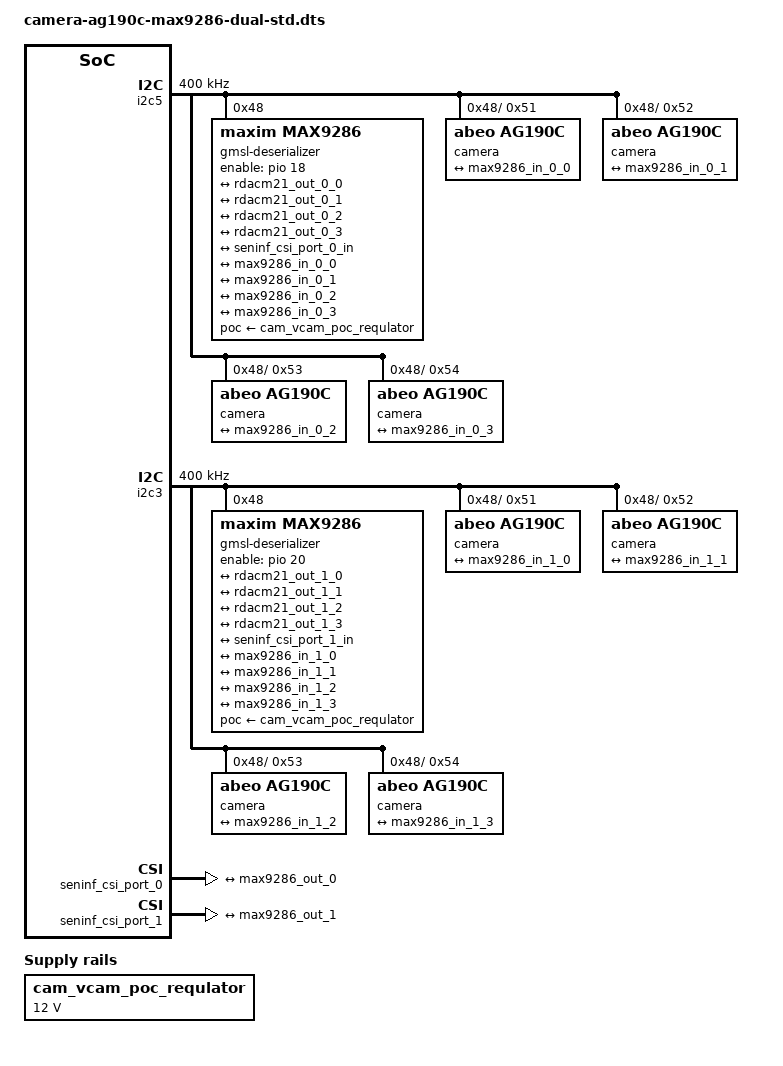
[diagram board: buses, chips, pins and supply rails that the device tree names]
// SPDX-License-Identifier: GPL-2.0
/*
 * Copyright (c) 2024 MediaTek Inc.
 *
 */

#include <dt-bindings/clock/mediatek,mt8188-clk.h>
#include <dt-bindings/gpio/gpio.h>
#include <dt-bindings/pinctrl/mediatek,mt8188-pinfunc.h>

/dts-v1/;
/plugin/;

#include "isp71.dtsi"

/ {
	fragment@3 {
		target-path = "/";
		__overlay__ {
			/* This dummy regulator is used for max9286 driver to probe */
			cam_vcam_poc_requlator: cam-vcam-poc-regulator {
				compatible = "regulator-fixed";
				regulator-name = "cam_vcam_poc_requlator";
				regulator-min-microvolt = <12000000>;
				regulator-max-microvolt = <12000000>;
				regulator-always-on;
			};
		};
	};

	fragment@4 {
		target = <&spi2>;
		__overlay__ {
			status = "disabled";
		};
	};

	fragment@5 {
		target = <&i2c5>;
		__overlay__ {
			clock-frequency = <400000>;
			gmsl-deserializer@2c {
				compatible = "maxim,max9286";
				reg = <0x48>;
				poc-supply = <&cam_vcam_poc_requlator>;
				enable-gpios = <&pio 18 GPIO_ACTIVE_HIGH>;

				gpio-controller;
				#gpio-cells = <2>;

				maxim,reverse-channel-microvolt = <200000>;

				ports {
					#address-cells = <1>;
					#size-cells = <0>;

					port@0 {
						reg = <0>;

						max9286_in_0_0: endpoint {
							remote-endpoint = <&rdacm21_out_0_0>;
						};
					};

					port@1 {
						reg = <1>;

						max9286_in_0_1: endpoint {
							remote-endpoint = <&rdacm21_out_0_1>;
						};
					};

					port@2 {
						reg = <2>;

						max9286_in_0_2: endpoint {
							remote-endpoint = <&rdacm21_out_0_2>;
						};
					};

					port@3 {
						reg = <3>;

						max9286_in_0_3: endpoint {
							remote-endpoint = <&rdacm21_out_0_3>;
						};
					};

					port@4 {
						reg = <4>;

						max9286_out_0: endpoint {
							data-lanes = <1 2 3 4>;
							remote-endpoint = <&seninf_csi_port_0_in>;
						};
					};
				};

				i2c-mux {
					#address-cells = <1>;
					#size-cells = <0>;

					i2c@0 {
						#address-cells = <1>;
						#size-cells = <0>;
						reg = <0>;

						camera@51 {
							compatible = "abeo,ag190c";
							reg = <0x51>, <0x61>;

							port {
								rdacm21_out_0_0: endpoint {
									remote-endpoint = <&max9286_in_0_0>;
								};
							};
						};
					};

					i2c@1 {
						#address-cells = <1>;
						#size-cells = <0>;
						reg = <1>;

						camera@52 {
							compatible = "abeo,ag190c";
							reg = <0x52>, <0x62>;

							port {
								rdacm21_out_0_1: endpoint {
									remote-endpoint = <&max9286_in_0_1>;
								};
							};
						};
					};

					i2c@2 {
						#address-cells = <1>;
						#size-cells = <0>;
						reg = <2>;

						camera@53 {
							compatible = "abeo,ag190c";
							reg = <0x53>, <0x63>;

							port {
								rdacm21_out_0_2: endpoint {
									remote-endpoint = <&max9286_in_0_2>;
								};
							};
						};
					};

					i2c@3 {
						#address-cells = <1>;
						#size-cells = <0>;
						reg = <3>;

						camera@54 {
							compatible = "abeo,ag190c";
							reg = <0x54>, <0x64>;

							port {
								rdacm21_out_0_3: endpoint {
									remote-endpoint = <&max9286_in_0_3>;
								};
							};
						};
					};
				};
			};
		};
	};

	fragment@6 {
		target = <&i2c3>;
		__overlay__ {
			clock-frequency = <400000>;
			gmsl-deserializer@2c {
				compatible = "maxim,max9286";
				reg = <0x48>;
				poc-supply = <&cam_vcam_poc_requlator>;
				enable-gpios = <&pio 20 GPIO_ACTIVE_HIGH>;

				gpio-controller;
				#gpio-cells = <2>;

				maxim,reverse-channel-microvolt = <200000>;

				ports {
					#address-cells = <1>;
					#size-cells = <0>;

					port@0 {
						reg = <0>;

						max9286_in_1_0: endpoint {
							remote-endpoint = <&rdacm21_out_1_0>;
						};
					};

					port@1 {
						reg = <1>;

						max9286_in_1_1: endpoint {
							remote-endpoint = <&rdacm21_out_1_1>;
						};
					};

					port@2 {
						reg = <2>;

						max9286_in_1_2: endpoint {
							remote-endpoint = <&rdacm21_out_1_2>;
						};
					};

					port@3 {
						reg = <3>;

						max9286_in_1_3: endpoint {
							remote-endpoint = <&rdacm21_out_1_3>;
						};
					};

					port@4 {
						reg = <4>;

						max9286_out_1: endpoint {
							data-lanes = <1 2 3 4>;
							remote-endpoint = <&seninf_csi_port_1_in>;
						};
					};
				};

				i2c-mux {
					#address-cells = <1>;
					#size-cells = <0>;

					i2c@0 {
						#address-cells = <1>;
						#size-cells = <0>;
						reg = <0>;

						camera@51 {
							compatible = "abeo,ag190c";
							reg = <0x51>, <0x61>;

							port {
								rdacm21_out_1_0: endpoint {
									remote-endpoint = <&max9286_in_1_0>;
								};
							};

						};
					};

					i2c@1 {
						#address-cells = <1>;
						#size-cells = <0>;
						reg = <1>;

						camera@52 {
							compatible = "abeo,ag190c";
							reg = <0x52>, <0x62>;

							port {
								rdacm21_out_1_1: endpoint {
									remote-endpoint = <&max9286_in_1_1>;
								};
							};
						};
					};

					i2c@2 {
						#address-cells = <1>;
						#size-cells = <0>;
						reg = <2>;

						camera@53 {
							compatible = "abeo,ag190c";
							reg = <0x53>, <0x63>;

							port {
								rdacm21_out_1_2: endpoint {
									remote-endpoint = <&max9286_in_1_2>;
								};
							};
						};
					};

					i2c@3 {
						#address-cells = <1>;
						#size-cells = <0>;
						reg = <3>;

						camera@54 {
							compatible = "abeo,ag190c";
							reg = <0x54>, <0x64>;

							port {
								rdacm21_out_1_3: endpoint {
									remote-endpoint = <&max9286_in_1_3>;
								};
							};
						};
					};
				};
			};
		};
	};

	fragment@7 {
		target = <&seninf_top>;
		__overlay__ {
			seninf_csi_port_0: seninf_csi_port_0 {
				compatible = "mediatek,seninf";
				csi-port = "0";
				settle_delay_ck = <0x00>;
				dphy_settle_delay_dt = <0x10>;
				hs_trail_parameter = <0x08>;

				port {
					seninf_csi_port_0_in: endpoint {
						remote-endpoint = <&max9286_out_0>;
						data-lanes = <1 2 3 4>;
					};
				};
			};

			seninf_csi_port_1: seninf_csi_port_1 {
				compatible = "mediatek,seninf";
				csi-port = "1";
				settle_delay_ck = <0x00>;
				dphy_settle_delay_dt = <0x10>;
				hs_trail_parameter = <0x08>;

				port {
					seninf_csi_port_1_in: endpoint {
						remote-endpoint = <&max9286_out_1>;
						data-lanes = <1 2 3 4>;
					};
				};
			};
		};
	};

	fragment@8 {
		target = <&hcp>;
		__overlay__ {
			status = "disabled";
		};
	};

	fragment@9 {
		target-path = "/soc/hcp_l15";
		__overlay__ {
			status = "disabled";
		};
	};

	fragment@10 {
		target-path = "/soc/imgsys_l10";
		__overlay__ {
			status = "disabled";
		};
	};

	fragment@11 {
		target-path = "/soc/imgsys_l11A";
		__overlay__ {
			status = "disabled";
		};
	};

	fragment@12 {
		target-path = "/soc/imgsys_l11C";
		__overlay__ {
			status = "disabled";
		};
	};

	fragment@13 {
		target = <&imgsys_fw>;
		__overlay__ {
			status = "disabled";
		};
	};

	fragment@14 {
		target = <&ipesys_me>;
		__overlay__ {
			status = "disabled";
		};
	};
};
